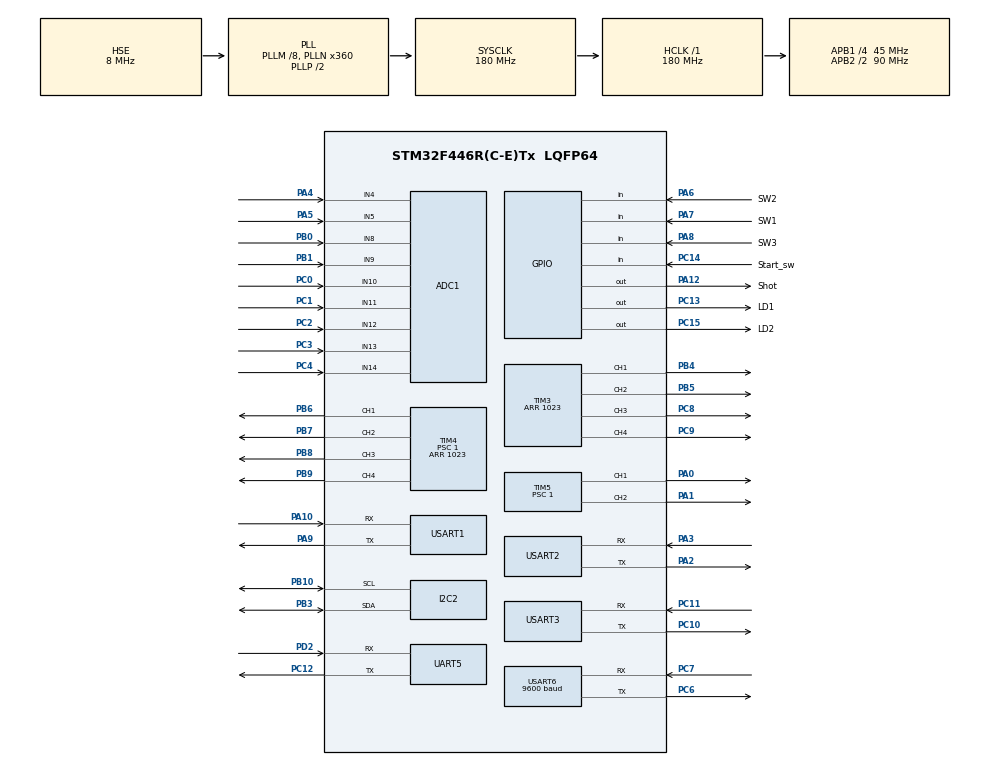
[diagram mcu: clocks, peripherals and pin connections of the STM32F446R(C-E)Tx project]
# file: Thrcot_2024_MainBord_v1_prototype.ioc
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ADC1.Channel-0\#ChannelRegularConversion=ADC_CHANNEL_11
ADC1.Channel-1\#ChannelRegularConversion=ADC_CHANNEL_12
ADC1.Channel-2\#ChannelRegularConversion=ADC_CHANNEL_13
ADC1.Channel-3\#ChannelRegularConversion=ADC_CHANNEL_14
ADC1.Channel-4\#ChannelRegularConversion=ADC_CHANNEL_5
ADC1.Channel-5\#ChannelRegularConversion=ADC_CHANNEL_8
ADC1.Channel-6\#ChannelRegularConversion=ADC_CHANNEL_9
ADC1.Channel-7\#ChannelRegularConversion=ADC_CHANNEL_10
ADC1.ContinuousConvMode=ENABLE
ADC1.DMAContinuousRequests=ENABLE
ADC1.NbrOfConversion=8
ADC1.NbrOfConversionFlag=1
ADC1.Rank-0\#ChannelRegularConversion=1
ADC1.Rank-1\#ChannelRegularConversion=2
ADC1.Rank-2\#ChannelRegularConversion=3
ADC1.Rank-3\#ChannelRegularConversion=4
ADC1.Rank-4\#ChannelRegularConversion=5
ADC1.Rank-5\#ChannelRegularConversion=6
ADC1.Rank-6\#ChannelRegularConversion=7
ADC1.Rank-7\#ChannelRegularConversion=8
ADC1.SamplingTime-0\#ChannelRegularConversion=ADC_SAMPLETIME_28CYCLES
ADC1.SamplingTime-1\#ChannelRegularConversion=ADC_SAMPLETIME_28CYCLES
ADC1.SamplingTime-2\#ChannelRegularConversion=ADC_SAMPLETIME_28CYCLES
ADC1.SamplingTime-3\#ChannelRegularConversion=ADC_SAMPLETIME_28CYCLES
ADC1.SamplingTime-4\#ChannelRegularConversion=ADC_SAMPLETIME_28CYCLES
ADC1.SamplingTime-5\#ChannelRegularConversion=ADC_SAMPLETIME_28CYCLES
ADC1.SamplingTime-6\#ChannelRegularConversion=ADC_SAMPLETIME_28CYCLES
ADC1.SamplingTime-7\#ChannelRegularConversion=ADC_SAMPLETIME_28CYCLES
ADC1.ScanConvMode=ENABLE
ADC1.master=1
Dma.ADC1.0.Direction=DMA_PERIPH_TO_MEMORY
Dma.ADC1.0.FIFOMode=DMA_FIFOMODE_DISABLE
Dma.ADC1.0.Instance=DMA2_Stream0
Dma.ADC1.0.MemDataAlignment=DMA_MDATAALIGN_HALFWORD
Dma.ADC1.0.MemInc=DMA_MINC_ENABLE
Dma.ADC1.0.Mode=DMA_CIRCULAR
Dma.ADC1.0.PeriphDataAlignment=DMA_PDATAALIGN_HALFWORD
Dma.ADC1.0.PeriphInc=DMA_PINC_DISABLE
Dma.ADC1.0.Priority=DMA_PRIORITY_MEDIUM
Dma.Request0=ADC1
I2C2.I2C_Mode=I2C_Fast
Mcu.Family=STM32F4
Mcu.Name=STM32F446R(C-E)Tx
Mcu.Package=LQFP64
NVIC.DMA2_Stream0_IRQn=true\:0\:0\:false\:false\:true\:false\:true\:true
NVIC.PriorityGroup=NVIC_PRIORITYGROUP_4
PA0-WKUP.Signal=S_TIM5_CH1
PA1.Signal=S_TIM5_CH2
PA10.Mode=Asynchronous
PA10.Signal=USART1_RX
PA12.GPIO_Label=Shot
PA12.Signal=GPIO_Output
PA13.Mode=Serial_Wire
PA13.Signal=SYS_JTMS-SWDIO
PA14.Mode=Serial_Wire
PA14.Signal=SYS_JTCK-SWCLK
PA2.Mode=Asynchronous
PA2.Signal=USART2_TX
PA3.Mode=Asynchronous
PA3.Signal=USART2_RX
PA4.Signal=ADCx_IN4
PA5.Signal=ADCx_IN5
PA6.GPIO_Label=SW2
PA6.Signal=GPIO_Input
PA7.GPIO_Label=SW1
PA7.Signal=GPIO_Input
PA8.GPIO_Label=SW3
PA8.Signal=GPIO_Input
PA9.Mode=Asynchronous
PA9.Signal=USART1_TX
PB0.Signal=ADCx_IN8
PB1.Signal=ADCx_IN9
PB10.Mode=I2C
PB10.Signal=I2C2_SCL
PB3.Mode=I2C
PB3.Signal=I2C2_SDA
PB4.Signal=S_TIM3_CH1
PB5.Signal=S_TIM3_CH2
PB6.Signal=S_TIM4_CH1
PB7.Signal=S_TIM4_CH2
PB8.Signal=S_TIM4_CH3
PB9.Signal=S_TIM4_CH4
PC0.Signal=ADCx_IN10
PC1.Signal=ADCx_IN11
PC10.Mode=Asynchronous
PC10.Signal=USART3_TX
PC11.Mode=Asynchronous
PC11.Signal=USART3_RX
PC12.Mode=Asynchronous
PC12.Signal=UART5_TX
PC13.GPIO_Label=LD1
PC13.Signal=GPIO_Output
PC14-OSC32_IN.GPIO_Label=Start_sw
PC14-OSC32_IN.Signal=GPIO_Input
PC15-OSC32_OUT.GPIO_Label=LD2
PC15-OSC32_OUT.Signal=GPIO_Output
PC2.Signal=ADCx_IN12
PC3.Signal=ADCx_IN13
PC4.Signal=ADCx_IN14
PC6.Mode=Asynchronous
PC6.Signal=USART6_TX
PC7.Mode=Asynchronous
PC7.Signal=USART6_RX
PC8.Signal=S_TIM3_CH3
PC9.Signal=S_TIM3_CH4
PD2.Mode=Asynchronous
PD2.Signal=UART5_RX
PH0-OSC_IN.Mode=HSE-External-Oscillator
PH0-OSC_IN.Signal=RCC_OSC_IN
PH1-OSC_OUT.Mode=HSE-External-Oscillator
PH1-OSC_OUT.Signal=RCC_OSC_OUT
ProjectManager.HeapSize=0x200
ProjectManager.StackSize=0x400
ProjectManager.TargetToolchain=STM32CubeIDE
RCC.AHBFreq_Value=180000000
RCC.APB1CLKDivider=RCC_HCLK_DIV4
RCC.APB1Freq_Value=45000000
RCC.APB1TimFreq_Value=90000000
RCC.APB2CLKDivider=RCC_HCLK_DIV2
RCC.APB2Freq_Value=90000000
RCC.APB2TimFreq_Value=180000000
RCC.CortexFreq_Value=180000000
RCC.HCLKFreq_Value=180000000
RCC.HSE_VALUE=8000000
RCC.PLLM=8
RCC.PLLN=360
RCC.PLLSourceVirtual=RCC_PLLSOURCE_HSE
RCC.SYSCLKFreq_VALUE=180000000
RCC.SYSCLKSource=RCC_SYSCLKSOURCE_PLLCLK
RCC.USBFreq_Value=180000000
RCC.VCOOutputFreq_Value=360000000
SH.ADCx_IN10.0=ADC1_IN10,IN10
SH.ADCx_IN11.0=ADC1_IN11,IN11
SH.ADCx_IN12.0=ADC1_IN12,IN12
SH.ADCx_IN13.0=ADC1_IN13,IN13
SH.ADCx_IN14.0=ADC1_IN14,IN14
SH.ADCx_IN4.0=ADC1_IN4,IN4
SH.ADCx_IN5.0=ADC1_IN5,IN5
SH.ADCx_IN8.0=ADC1_IN8,IN8
SH.ADCx_IN9.0=ADC1_IN9,IN9
SH.S_TIM3_CH1.0=TIM3_CH1,PWM Generation1 CH1
SH.S_TIM3_CH2.0=TIM3_CH2,PWM Generation2 CH2
SH.S_TIM3_CH3.0=TIM3_CH3,PWM Generation3 CH3
SH.S_TIM3_CH4.0=TIM3_CH4,PWM Generation4 CH4
SH.S_TIM4_CH1.0=TIM4_CH1,PWM Generation1 CH1
SH.S_TIM4_CH2.0=TIM4_CH2,PWM Generation2 CH2
SH.S_TIM4_CH3.0=TIM4_CH3,PWM Generation3 CH3
SH.S_TIM4_CH4.0=TIM4_CH4,PWM Generation4 CH4
SH.S_TIM5_CH1.0=TIM5_CH1,PWM Generation1 CH1
SH.S_TIM5_CH2.0=TIM5_CH2,PWM Generation2 CH2
TIM3.Channel-PWM\ Generation1\ CH1=TIM_CHANNEL_1
TIM3.Channel-PWM\ Generation2\ CH2=TIM_CHANNEL_2
TIM3.Channel-PWM\ Generation3\ CH3=TIM_CHANNEL_3
TIM3.Channel-PWM\ Generation4\ CH4=TIM_CHANNEL_4
TIM3.Period=1023
TIM4.Channel-PWM\ Generation1\ CH1=TIM_CHANNEL_1
TIM4.Channel-PWM\ Generation2\ CH2=TIM_CHANNEL_2
TIM4.Channel-PWM\ Generation3\ CH3=TIM_CHANNEL_3
TIM4.Channel-PWM\ Generation4\ CH4=TIM_CHANNEL_4
TIM4.Period=1023
TIM4.Prescaler=1
TIM5.Channel-PWM\ Generation1\ CH1=TIM_CHANNEL_1
TIM5.Channel-PWM\ Generation2\ CH2=TIM_CHANNEL_2
TIM5.Period=1023
TIM5.Prescaler=1
UART5.VirtualMode=Asynchronous
USART1.VirtualMode=VM_ASYNC
USART2.VirtualMode=VM_ASYNC
USART3.VirtualMode=VM_ASYNC
USART6.BaudRate=9600
USART6.VirtualMode=VM_ASYNC
board=custom

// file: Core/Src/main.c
/* USER CODE BEGIN Header */
/**
  ******************************************************************************
  * @file           : main.c
  * @brief          : Main program body
  ******************************************************************************
  * @attention
  *
  * Copyright (c) 2024 STMicroelectronics.
  * All rights reserved.
  *
  * This software is licensed under terms that can be found in the LICENSE file
  * in the root directory of this software component.
  * If no LICENSE file comes with this software, it is provided AS-IS.
  *
  ******************************************************************************
  */
/* USER CODE END Header */
#include "main.h"

/* USER CODE BEGIN Includes */
#include <stdlib.h>
#include <math.h>
#include "ssd1306_hal.h"
#include "DFPlayer_hal.h"
#include "BMX055_hal.h"
/* USER CODE END Includes */

/* USER CODE BEGIN PTD */
typedef enum {
	STANDBY_MODE,
	DEBUG_MODE,
	GAME_MODE
} Robot_State_t;

typedef enum {
	LINE_CHECK,
	BALL_CHECK,
	BMX_CHECK,
	MOTOR_CHECK,
	AUDIO_CHECK,
} Debug_Select_t;

typedef enum {
	M1,
	M2,
	M3,
	M4
} MOTOR_NUM;
/* USER CODE END PTD */

/* USER CODE BEGIN PD */
#define P_GAIN	27.5
#define I_GAIN	0
#define D_GAIN	0

#define ROUND_P_1	30.0
#define ROUND_P_2	50.0
/* USER CODE END PD */

ADC_HandleTypeDef hadc1;
DMA_HandleTypeDef hdma_adc1;

I2C_HandleTypeDef hi2c2;

TIM_HandleTypeDef htim3;
TIM_HandleTypeDef htim4;
TIM_HandleTypeDef htim5;

UART_HandleTypeDef huart5;
UART_HandleTypeDef huart1;
UART_HandleTypeDef huart2;
UART_HandleTypeDef huart3;
UART_HandleTypeDef huart6;

/* USER CODE BEGIN PV */
double gz_offset = 0.0;

uint8_t DFPlayer_enable = 0;
uint8_t Camera_enable = 0;
uint8_t WiFi_enable = 0;

uint8_t speaker_volume = 20;

uint8_t check_line[2] = {0xF3, 0x03};
uint8_t request_line[2] = {0xF0, 0x33};

uint16_t Ball_data[8] = {0};
double Sensor_angle[8] = {0.0, 0.785398, 1.570796, 2.356194, 3.141592, 3.926990, 4.712388, 5.497787};

uint8_t __receive_buf[3] = {0xFF, 0xFF, 0xFF};

int8_t m1_offset = 1;
int8_t m2_offset = -1;
int8_t m3_offset = -1;
int8_t m4_offset = 1;
/* USER CODE END PV */

void SystemClock_Config(void);
static void MX_GPIO_Init(void);
static void MX_DMA_Init(void);
static void MX_I2C2_Init(void);
static void MX_USART6_UART_Init(void);
static void MX_ADC1_Init(void);
static void MX_TIM3_Init(void);
static void MX_TIM4_Init(void);
static void MX_TIM5_Init(void);
static void MX_UART5_Init(void);
static void MX_USART1_UART_Init(void);
static void MX_USART2_UART_Init(void);
static void MX_USART3_UART_Init(void);
/* USER CODE BEGIN PFP */
/*Init function*/
void Thrcot_Init(void);
void Thrcot_Init_Fast(void);
/*Debug function*/
void Debug_Mode(Debug_Select_t debug_kind);

/*Ball sensor function*/
double Ball_Angle(void);

/*Line sensor function*/
uint8_t Line_Conenct_Test(void);
double Line_Get(void);

/*motor control function*/
void Motor_Init(void);
int Return_Speed(MOTOR_NUM Mx, double angle, int speed);
void M1_control(int speed);
void M2_control(int speed);
void M3_control(int speed);
void M4_control(int speed);
void Stright_control(double angle, int speed);

/*other functions*/
double Return_Pval(double p);

/* USER CODE END PFP */

int main(void)
{

  /* MCU Configuration--------------------------------------------------------*/

  /* Reset of all peripherals, Initializes the Flash interface and the Systick. */
  HAL_Init();

  /* Configure the system clock */
  SystemClock_Config();

  /* Initialize all configured peripherals */
  MX_GPIO_Init();
  MX_DMA_Init();
  MX_I2C2_Init();
  MX_USART6_UART_Init();
  MX_ADC1_Init();
  MX_TIM3_Init();
  MX_TIM4_Init();
  MX_TIM5_Init();
  MX_UART5_Init();
  MX_USART1_UART_Init();
  MX_USART2_UART_Init();
  MX_USART3_UART_Init();
  /* USER CODE BEGIN 2 */
  CoreDebug -> DEMCR |= CoreDebug_DEMCR_TRCENA_Msk;
  DWT -> CTRL |= DWT_CTRL_CYCCNTENA_Msk;

  volatile uint32_t start = 0;
  volatile uint32_t stop = 0;

  double duration = 0.0;

  long long gz = 0;
  double angle = 0;

  if (HAL_GPIO_ReadPin(SW2_GPIO_Port, SW2_Pin) == 0) {
	  Thrcot_Init_Fast();
	  while (HAL_GPIO_ReadPin(SW2_GPIO_Port, SW2_Pin) == 0);
  } else {
	  Thrcot_Init();
  }
  /* USER CODE END 2 */

  /* Infinite loop */
  while (1)
  {

    /* USER CODE BEGIN 3 */
	  static Robot_State_t robot_state = STANDBY_MODE;
	  uint8_t sw1_state, sw2_state, sw3_state, start_sw_state;

	  switch (robot_state) {
		case STANDBY_MODE:
			HAL_GPIO_WritePin(LD1_GPIO_Port, LD1_Pin, 1);
			HAL_GPIO_WritePin(LD2_GPIO_Port, LD2_Pin, 0);

			OLED_DataClear();
			OLED_Char_Print("Stand-by Mode...", 0, 0);
			OLED_Char_Print("Debug Mode : SW2", 0, 12);
			OLED_Char_Print("Game Mode : SW3", 0, 20);
			OLED_Display(&hi2c2);

			while (1) {
				if (HAL_GPIO_ReadPin(SW2_GPIO_Port, SW2_Pin) == 0) {
					robot_state = DEBUG_MODE;
					break;
				} else if (HAL_GPIO_ReadPin(SW3_GPIO_Port, SW3_Pin) == 0){
					robot_state = GAME_MODE;
					break;
				}
			}
			break;

		case DEBUG_MODE:
			HAL_GPIO_WritePin(LD1_GPIO_Port, LD1_Pin, 0);
			HAL_GPIO_WritePin(LD2_GPIO_Port, LD2_Pin, 1);

			while (HAL_GPIO_ReadPin(SW1_GPIO_Port, SW1_Pin) == 1) {
				static Debug_Select_t debug = 0;
				sw2_state = HAL_GPIO_ReadPin(SW2_GPIO_Port, SW2_Pin);
				start_sw_state = HAL_GPIO_ReadPin(Start_sw_GPIO_Port, Start_sw_Pin);

				OLED_DataClear();
				OLED_Char_Print("Select to SW2", 0, 0);
				OLED_Char_Print("Decide to StartSW", 0, 8);
				OLED_Char_Print("Stand-by to SW1", 0, 16);
				OLED_Char_Print(" Line check", 0, 24);
				OLED_Char_Print(" Ball check", 0, 32);
				OLED_Char_Print(" BMX check", 0, 40);
				OLED_Char_Print(" Motor check", 0, 48);
				OLED_Char_Print(" Audio check", 0, 56);
				OLED_Char_Print(">", 0, debug * 8 + 24);
				OLED_Display(&hi2c2);

				if (sw2_state == 0) {
					while (HAL_GPIO_ReadPin(SW2_GPIO_Port, SW2_Pin) == 0);
					debug = (debug == AUDIO_CHECK) ? LINE_CHECK : debug + 1;
				}

				if (start_sw_state == 0) {
					while (HAL_GPIO_ReadPin(Start_sw_GPIO_Port, Start_sw_Pin) == 0);
					Debug_Mode(debug);
				}
			}

			robot_state = STANDBY_MODE;
			break;

		case GAME_MODE:
			double Line_angle = 0.0;
			double Ball_angle = 0.0;

			angle = 0.0;

			HAL_GPIO_WritePin(LD1_GPIO_Port, LD1_Pin, 1);
			HAL_GPIO_WritePin(LD2_GPIO_Port, LD2_Pin, 1);

			while (HAL_GPIO_ReadPin(Start_sw_GPIO_Port, Start_sw_Pin) == 1) {
				start = DWT -> CYCCNT;

				gz = Gyro_Get_Z() - gz_offset;
				angle += -gz * duration * (2000.0 / 32767.0);

				OLED_DataClear();
				OLED_Char_Print("Game Mode...", 0, 0);
				OLED_Char_Print("Please press StartSW", 0, 8);
				OLED_Int_Print(gz, 0, 16);
				OLED_Double_Print(duration, 0, 24);
				OLED_Double_Print(angle, 0, 32);
				OLED_Display(&hi2c2);

				stop = DWT -> CYCCNT;
				duration = (double)(stop - start) / 180000000.0;
			}

			while (HAL_GPIO_ReadPin(Start_sw_GPIO_Port, Start_sw_Pin) == 0);

			HAL_GPIO_WritePin(LD1_GPIO_Port, LD1_Pin, 0);
			HAL_GPIO_WritePin(LD2_GPIO_Port, LD2_Pin, 0);

			OLED_DataClear();
			OLED_Char_Print("Running...", 0, 0);
			OLED_Display(&hi2c2);

			while (HAL_GPIO_ReadPin(Start_sw_GPIO_Port, Start_sw_Pin)) {
				start = DWT -> CYCCNT;

				double P_val = 0.0;
				double D_val = 0.0;
				static double pre_P_val = 0.0;
				double spin_speed = 0.0;

				double move_angle = 0.0;
				int M1_speed = 0;
				int M2_speed = 0;
				int M3_speed = 0;
				int M4_speed = 0;

				gz = Gyro_Get_Z() - gz_offset;
				angle += -1 * gz * duration * (2000.0 / 32767.0);
				if (angle > 180.0) {
					angle = angle - 360.0;
				} else if (angle < -180.0) {
					angle = angle + 360.0;
				}

				P_val = 0.0 - angle;
				D_val = (P_val - pre_P_val) * duration;
				spin_speed = Return_Pval(P_val) + D_val * D_GAIN;

				Line_angle = Line_Get();

				if (Line_angle == 300.0) {
					Ball_angle  = Ball_Angle();

					if (angle >= -20.0 && angle <= 20.0) {

						Ball_angle *= 180.0 / PI;

						if (Ball_angle <= 5.0 && Ball_angle >= -5.0) {
							move_angle = Ball_angle;
						} else {
							move_angle = (Ball_angle < 0.0) ? Ball_angle - 45.0 : Ball_angle + 45.0;
						}

						Stright_control(move_angle, 1023);
					} else {
						M1_speed = M2_speed = M3_speed = M4_speed = spin_speed;

						M1_control(M1_speed);
						M2_control(M2_speed);
						M3_control(M3_speed);
						M4_control(M4_speed);
					}
				} else {
					Line_angle = Line_angle * 180.0 / PI;

					Stright_control(-Line_angle, 1023);
					HAL_Delay(2000);
				}

				pre_P_val = P_val;

				stop = DWT -> CYCCNT;
				duration = (double)(stop - start) / 180000000.0;
			}
			OLED_DataClear();
			OLED_Double_Print(duration, 0, 0);
			OLED_Display(&hi2c2);

			M1_control(0);
			M2_control(0);
			M3_control(0);
			M4_control(0);

			HAL_Delay(2000);

			while (HAL_GPIO_ReadPin(Start_sw_GPIO_Port, Start_sw_Pin) == 0);
			robot_state = STANDBY_MODE;

			break;

		default:
			break;
	}
  }
  /* USER CODE END 3 */
}

void SystemClock_Config(void)
{
  RCC_OscInitTypeDef RCC_OscInitStruct = {0};
  RCC_ClkInitTypeDef RCC_ClkInitStruct = {0};

  /** Configure the main internal regulator output voltage
  */
  __HAL_RCC_PWR_CLK_ENABLE();
  __HAL_PWR_VOLTAGESCALING_CONFIG(PWR_REGULATOR_VOLTAGE_SCALE1);

  /** Initializes the RCC Oscillators according to the specified parameters
  * in the RCC_OscInitTypeDef structure.
  */
  RCC_OscInitStruct.OscillatorType = RCC_OSCILLATORTYPE_HSE;
  RCC_OscInitStruct.HSEState = RCC_HSE_ON;
  RCC_OscInitStruct.PLL.PLLState = RCC_PLL_ON;
  RCC_OscInitStruct.PLL.PLLSource = RCC_PLLSOURCE_HSE;
  RCC_OscInitStruct.PLL.PLLM = 8;
  RCC_OscInitStruct.PLL.PLLN = 360;
  RCC_OscInitStruct.PLL.PLLP = RCC_PLLP_DIV2;
  RCC_OscInitStruct.PLL.PLLQ = 2;
  RCC_OscInitStruct.PLL.PLLR = 2;
  if (HAL_RCC_OscConfig(&RCC_OscInitStruct) != HAL_OK)
  {
    Error_Handler();
  }

  /** Activate the Over-Drive mode
  */
  if (HAL_PWREx_EnableOverDrive() != HAL_OK)
  {
    Error_Handler();
  }

  /** Initializes the CPU, AHB and APB buses clocks
  */
  RCC_ClkInitStruct.ClockType = RCC_CLOCKTYPE_HCLK|RCC_CLOCKTYPE_SYSCLK
                              |RCC_CLOCKTYPE_PCLK1|RCC_CLOCKTYPE_PCLK2;
  RCC_ClkInitStruct.SYSCLKSource = RCC_SYSCLKSOURCE_PLLCLK;
  RCC_ClkInitStruct.AHBCLKDivider = RCC_SYSCLK_DIV1;
  RCC_ClkInitStruct.APB1CLKDivider = RCC_HCLK_DIV4;
  RCC_ClkInitStruct.APB2CLKDivider = RCC_HCLK_DIV2;

  if (HAL_RCC_ClockConfig(&RCC_ClkInitStruct, FLASH_LATENCY_5) != HAL_OK)
  {
    Error_Handler();
  }
}

static void MX_ADC1_Init(void)
{

  ADC_ChannelConfTypeDef sConfig = {0};

  /** Configure the global features of the ADC (Clock, Resolution, Data Alignment and number of conversion)
  */
  hadc1.Instance = ADC1;
  hadc1.Init.ClockPrescaler = ADC_CLOCK_SYNC_PCLK_DIV4;
  hadc1.Init.Resolution = ADC_RESOLUTION_12B;
  hadc1.Init.ScanConvMode = ENABLE;
  hadc1.Init.ContinuousConvMode = ENABLE;
  hadc1.Init.DiscontinuousConvMode = DISABLE;
  hadc1.Init.ExternalTrigConvEdge = ADC_EXTERNALTRIGCONVEDGE_NONE;
  hadc1.Init.ExternalTrigConv = ADC_SOFTWARE_START;
  hadc1.Init.DataAlign = ADC_DATAALIGN_RIGHT;
  hadc1.Init.NbrOfConversion = 8;
  hadc1.Init.DMAContinuousRequests = ENABLE;
  hadc1.Init.EOCSelection = ADC_EOC_SINGLE_CONV;
  if (HAL_ADC_Init(&hadc1) != HAL_OK)
  {
    Error_Handler();
  }

  /** Configure for the selected ADC regular channel its corresponding rank in the sequencer and its sample time.
  */
  sConfig.Channel = ADC_CHANNEL_11;
  sConfig.Rank = 1;
  sConfig.SamplingTime = ADC_SAMPLETIME_28CYCLES;
  if (HAL_ADC_ConfigChannel(&hadc1, &sConfig) != HAL_OK)
  {
    Error_Handler();
  }

  /** Configure for the selected ADC regular channel its corresponding rank in the sequencer and its sample time.
  */
  sConfig.Channel = ADC_CHANNEL_12;
  sConfig.Rank = 2;
  if (HAL_ADC_ConfigChannel(&hadc1, &sConfig) != HAL_OK)
  {
    Error_Handler();
  }

  /** Configure for the selected ADC regular channel its corresponding rank in the sequencer and its sample time.
  */
  sConfig.Channel = ADC_CHANNEL_13;
  sConfig.Rank = 3;
  if (HAL_ADC_ConfigChannel(&hadc1, &sConfig) != HAL_OK)
  {
    Error_Handler();
  }

  /** Configure for the selected ADC regular channel its corresponding rank in the sequencer and its sample time.
  */
  sConfig.Channel = ADC_CHANNEL_14;
  sConfig.Rank = 4;
  if (HAL_ADC_ConfigChannel(&hadc1, &sConfig) != HAL_OK)
  {
    Error_Handler();
  }

  /** Configure for the selected ADC regular channel its corresponding rank in the sequencer and its sample time.
  */
  sConfig.Channel = ADC_CHANNEL_5;
  sConfig.Rank = 5;
  if (HAL_ADC_ConfigChannel(&hadc1, &sConfig) != HAL_OK)
  {
    Error_Handler();
  }

  /** Configure for the selected ADC regular channel its corresponding rank in the sequencer and its sample time.
  */
  sConfig.Channel = ADC_CHANNEL_8;
  sConfig.Rank = 6;
  if (HAL_ADC_ConfigChannel(&hadc1, &sConfig) != HAL_OK)
  {
    Error_Handler();
  }

  /** Configure for the selected ADC regular channel its corresponding rank in the sequencer and its sample time.
  */
  sConfig.Channel = ADC_CHANNEL_9;
  sConfig.Rank = 7;
  if (HAL_ADC_ConfigChannel(&hadc1, &sConfig) != HAL_OK)
  {
    Error_Handler();
  }

  /** Configure for the selected ADC regular channel its corresponding rank in the sequencer and its sample time.
  */
  sConfig.Channel = ADC_CHANNEL_10;
  sConfig.Rank = 8;
  if (HAL_ADC_ConfigChannel(&hadc1, &sConfig) != HAL_OK)
  {
    Error_Handler();
  }

}

static void MX_I2C2_Init(void)
{

  hi2c2.Instance = I2C2;
  hi2c2.Init.ClockSpeed = 400000;
  hi2c2.Init.DutyCycle = I2C_DUTYCYCLE_2;
  hi2c2.Init.OwnAddress1 = 0;
  hi2c2.Init.AddressingMode = I2C_ADDRESSINGMODE_7BIT;
  hi2c2.Init.DualAddressMode = I2C_DUALADDRESS_DISABLE;
  hi2c2.Init.OwnAddress2 = 0;
  hi2c2.Init.GeneralCallMode = I2C_GENERALCALL_DISABLE;
  hi2c2.Init.NoStretchMode = I2C_NOSTRETCH_DISABLE;
  if (HAL_I2C_Init(&hi2c2) != HAL_OK)
  {
    Error_Handler();
  }

}

static void MX_TIM3_Init(void)
{

  TIM_MasterConfigTypeDef sMasterConfig = {0};
  TIM_OC_InitTypeDef sConfigOC = {0};

  htim3.Instance = TIM3;
  htim3.Init.Prescaler = 0;
  htim3.Init.CounterMode = TIM_COUNTERMODE_UP;
  htim3.Init.Period = 1023;
  htim3.Init.ClockDivision = TIM_CLOCKDIVISION_DIV1;
  htim3.Init.AutoReloadPreload = TIM_AUTORELOAD_PRELOAD_DISABLE;
  if (HAL_TIM_PWM_Init(&htim3) != HAL_OK)
  {
    Error_Handler();
  }
  sMasterConfig.MasterOutputTrigger = TIM_TRGO_RESET;
  sMasterConfig.MasterSlaveMode = TIM_MASTERSLAVEMODE_DISABLE;
  if (HAL_TIMEx_MasterConfigSynchronization(&htim3, &sMasterConfig) != HAL_OK)
  {
    Error_Handler();
  }
  sConfigOC.OCMode = TIM_OCMODE_PWM1;
  sConfigOC.Pulse = 0;
  sConfigOC.OCPolarity = TIM_OCPOLARITY_HIGH;
  sConfigOC.OCFastMode = TIM_OCFAST_DISABLE;
  if (HAL_TIM_PWM_ConfigChannel(&htim3, &sConfigOC, TIM_CHANNEL_1) != HAL_OK)
  {
    Error_Handler();
  }
  if (HAL_TIM_PWM_ConfigChannel(&htim3, &sConfigOC, TIM_CHANNEL_2) != HAL_OK)
  {
    Error_Handler();
  }
  if (HAL_TIM_PWM_ConfigChannel(&htim3, &sConfigOC, TIM_CHANNEL_3) != HAL_OK)
  {
    Error_Handler();
  }
  if (HAL_TIM_PWM_ConfigChannel(&htim3, &sConfigOC, TIM_CHANNEL_4) != HAL_OK)
  {
    Error_Handler();
  }
  HAL_TIM_MspPostInit(&htim3);

}

static void MX_TIM4_Init(void)
{

  TIM_MasterConfigTypeDef sMasterConfig = {0};
  TIM_OC_InitTypeDef sConfigOC = {0};

  htim4.Instance = TIM4;
  htim4.Init.Prescaler = 1;
  htim4.Init.CounterMode = TIM_COUNTERMODE_UP;
  htim4.Init.Period = 1023;
  htim4.Init.ClockDivision = TIM_CLOCKDIVISION_DIV1;
  htim4.Init.AutoReloadPreload = TIM_AUTORELOAD_PRELOAD_DISABLE;
  if (HAL_TIM_PWM_Init(&htim4) != HAL_OK)
  {
    Error_Handler();
  }
  sMasterConfig.MasterOutputTrigger = TIM_TRGO_RESET;
  sMasterConfig.MasterSlaveMode = TIM_MASTERSLAVEMODE_DISABLE;
  if (HAL_TIMEx_MasterConfigSynchronization(&htim4, &sMasterConfig) != HAL_OK)
  {
    Error_Handler();
  }
  sConfigOC.OCMode = TIM_OCMODE_PWM1;
  sConfigOC.Pulse = 0;
  sConfigOC.OCPolarity = TIM_OCPOLARITY_HIGH;
  sConfigOC.OCFastMode = TIM_OCFAST_DISABLE;
  if (HAL_TIM_PWM_ConfigChannel(&htim4, &sConfigOC, TIM_CHANNEL_1) != HAL_OK)
  {
    Error_Handler();
  }
  if (HAL_TIM_PWM_ConfigChannel(&htim4, &sConfigOC, TIM_CHANNEL_2) != HAL_OK)
  {
    Error_Handler();
  }
  if (HAL_TIM_PWM_ConfigChannel(&htim4, &sConfigOC, TIM_CHANNEL_3) != HAL_OK)
  {
    Error_Handler();
  }
  if (HAL_TIM_PWM_ConfigChannel(&htim4, &sConfigOC, TIM_CHANNEL_4) != HAL_OK)
  {
    Error_Handler();
  }
  HAL_TIM_MspPostInit(&htim4);

}

static void MX_TIM5_Init(void)
{

  TIM_MasterConfigTypeDef sMasterConfig = {0};
  TIM_OC_InitTypeDef sConfigOC = {0};

  htim5.Instance = TIM5;
  htim5.Init.Prescaler = 1;
  htim5.Init.CounterMode = TIM_COUNTERMODE_UP;
  htim5.Init.Period = 1023;
  htim5.Init.ClockDivision = TIM_CLOCKDIVISION_DIV1;
  htim5.Init.AutoReloadPreload = TIM_AUTORELOAD_PRELOAD_DISABLE;
  if (HAL_TIM_PWM_Init(&htim5) != HAL_OK)
  {
    Error_Handler();
  }
  sMasterConfig.MasterOutputTrigger = TIM_TRGO_RESET;
  sMasterConfig.MasterSlaveMode = TIM_MASTERSLAVEMODE_DISABLE;
  if (HAL_TIMEx_MasterConfigSynchronization(&htim5, &sMasterConfig) != HAL_OK)
  {
    Error_Handler();
  }
  sConfigOC.OCMode = TIM_OCMODE_PWM1;
  sConfigOC.Pulse = 0;
  sConfigOC.OCPolarity = TIM_OCPOLARITY_HIGH;
  sConfigOC.OCFastMode = TIM_OCFAST_DISABLE;
  if (HAL_TIM_PWM_ConfigChannel(&htim5, &sConfigOC, TIM_CHANNEL_1) != HAL_OK)
  {
    Error_Handler();
  }
  if (HAL_TIM_PWM_ConfigChannel(&htim5, &sConfigOC, TIM_CHANNEL_2) != HAL_OK)
  {
    Error_Handler();
  }
  HAL_TIM_MspPostInit(&htim5);

}

static void MX_UART5_Init(void)
{

  huart5.Instance = UART5;
  huart5.Init.BaudRate = 115200;
  huart5.Init.WordLength = UART_WORDLENGTH_8B;
  huart5.Init.StopBits = UART_STOPBITS_1;
  huart5.Init.Parity = UART_PARITY_NONE;
  huart5.Init.Mode = UART_MODE_TX_RX;
  huart5.Init.HwFlowCtl = UART_HWCONTROL_NONE;
  huart5.Init.OverSampling = UART_OVERSAMPLING_16;
  if (HAL_UART_Init(&huart5) != HAL_OK)
  {
    Error_Handler();
  }

}

static void MX_USART1_UART_Init(void)
{

  huart1.Instance = USART1;
  huart1.Init.BaudRate = 115200;
  huart1.Init.WordLength = UART_WORDLENGTH_8B;
  huart1.Init.StopBits = UART_STOPBITS_1;
  huart1.Init.Parity = UART_PARITY_NONE;
  huart1.Init.Mode = UART_MODE_TX_RX;
  huart1.Init.HwFlowCtl = UART_HWCONTROL_NONE;
  huart1.Init.OverSampling = UART_OVERSAMPLING_16;
  if (HAL_UART_Init(&huart1) != HAL_OK)
  {
    Error_Handler();
  }

}

static void MX_USART2_UART_Init(void)
{

  huart2.Instance = USART2;
  huart2.Init.BaudRate = 115200;
  huart2.Init.WordLength = UART_WORDLENGTH_8B;
  huart2.Init.StopBits = UART_STOPBITS_1;
  huart2.Init.Parity = UART_PARITY_NONE;
  huart2.Init.Mode = UART_MODE_TX_RX;
  huart2.Init.HwFlowCtl = UART_HWCONTROL_NONE;
  huart2.Init.OverSampling = UART_OVERSAMPLING_16;
  if (HAL_UART_Init(&huart2) != HAL_OK)
  {
    Error_Handler();
  }

}

static void MX_USART3_UART_Init(void)
{

  huart3.Instance = USART3;
  huart3.Init.BaudRate = 115200;
  huart3.Init.WordLength = UART_WORDLENGTH_8B;
  huart3.Init.StopBits = UART_STOPBITS_1;
  huart3.Init.Parity = UART_PARITY_NONE;
  huart3.Init.Mode = UART_MODE_TX_RX;
  huart3.Init.HwFlowCtl = UART_HWCONTROL_NONE;
  huart3.Init.OverSampling = UART_OVERSAMPLING_16;
  if (HAL_UART_Init(&huart3) != HAL_OK)
  {
    Error_Handler();
  }

}

static void MX_USART6_UART_Init(void)
{

  huart6.Instance = USART6;
  huart6.Init.BaudRate = 9600;
  huart6.Init.WordLength = UART_WORDLENGTH_8B;
  huart6.Init.StopBits = UART_STOPBITS_1;
  huart6.Init.Parity = UART_PARITY_NONE;
  huart6.Init.Mode = UART_MODE_TX_RX;
  huart6.Init.HwFlowCtl = UART_HWCONTROL_NONE;
  huart6.Init.OverSampling = UART_OVERSAMPLING_16;
  if (HAL_UART_Init(&huart6) != HAL_OK)
  {
    Error_Handler();
  }

}

static void MX_DMA_Init(void)
{

  /* DMA controller clock enable */
  __HAL_RCC_DMA2_CLK_ENABLE();

  /* DMA interrupt init */
  /* DMA2_Stream0_IRQn interrupt configuration */
  HAL_NVIC_SetPriority(DMA2_Stream0_IRQn, 0, 0);
  HAL_NVIC_EnableIRQ(DMA2_Stream0_IRQn);

}

static void MX_GPIO_Init(void)
{
  GPIO_InitTypeDef GPIO_InitStruct = {0};

  /* GPIO Ports Clock Enable */
  __HAL_RCC_GPIOC_CLK_ENABLE();
  __HAL_RCC_GPIOH_CLK_ENABLE();
  __HAL_RCC_GPIOA_CLK_ENABLE();
  __HAL_RCC_GPIOB_CLK_ENABLE();
  __HAL_RCC_GPIOD_CLK_ENABLE();

  /*Configure GPIO pin Output Level */
  HAL_GPIO_WritePin(GPIOC, LD1_Pin|LD2_Pin, GPIO_PIN_RESET);

  /*Configure GPIO pin Output Level */
  HAL_GPIO_WritePin(Shot_GPIO_Port, Shot_Pin, GPIO_PIN_RESET);

  /*Configure GPIO pins : LD1_Pin LD2_Pin */
  GPIO_InitStruct.Pin = LD1_Pin|LD2_Pin;
  GPIO_InitStruct.Mode = GPIO_MODE_OUTPUT_PP;
  GPIO_InitStruct.Pull = GPIO_NOPULL;
  GPIO_InitStruct.Speed = GPIO_SPEED_FREQ_LOW;
  HAL_GPIO_Init(GPIOC, &GPIO_InitStruct);

  /*Configure GPIO pin : Start_sw_Pin */
  GPIO_InitStruct.Pin = Start_sw_Pin;
  GPIO_InitStruct.Mode = GPIO_MODE_INPUT;
  GPIO_InitStruct.Pull = GPIO_NOPULL;
  HAL_GPIO_Init(Start_sw_GPIO_Port, &GPIO_InitStruct);

  /*Configure GPIO pins : SW2_Pin SW1_Pin SW3_Pin */
  GPIO_InitStruct.Pin = SW2_Pin|SW1_Pin|SW3_Pin;
  GPIO_InitStruct.Mode = GPIO_MODE_INPUT;
  GPIO_InitStruct.Pull = GPIO_NOPULL;
  HAL_GPIO_Init(GPIOA, &GPIO_InitStruct);

  /*Configure GPIO pin : Shot_Pin */
  GPIO_InitStruct.Pin = Shot_Pin;
  GPIO_InitStruct.Mode = GPIO_MODE_OUTPUT_PP;
  GPIO_InitStruct.Pull = GPIO_NOPULL;
  GPIO_InitStruct.Speed = GPIO_SPEED_FREQ_LOW;
  HAL_GPIO_Init(Shot_GPIO_Port, &GPIO_InitStruct);

}

/* USER CODE BEGIN 4 */
void Thrcot_Init(void)
{
	uint8_t Error_Data = 0;
	uint8_t loop_flug = 0;

	HAL_ADC_Start_DMA(&hadc1, (uint32_t*)Ball_data, 8);
	hdma_adc1.Instance -> CR &= ~(DMA_IT_TC | DMA_IT_HT);

	OLED_Init(&hi2c2, OLED_Init_Data, sizeof(OLED_Init_Data));
	OLED_Thrcot_Large_Logo_Display(&hi2c2);
	HAL_Delay(2000);
	OLED_AllClear(&hi2c2);

	OLED_Char_Print("BMX055...", 0, 0);
	OLED_Display(&hi2c2);
	do {
		Error_Data = BMX055_Init(&hi2c2, 2, 2000);
	} while (Error_Data != 0);

	OLED_Char_Print("         OK", 0, 0);
	OLED_Display(&hi2c2);
	HAL_Delay(550);

	OLED_Char_Print("Calibration...", 0, 8);
	OLED_Display(&hi2c2);

	gz_offset = Gyro_Offset_Z(1000);

	OLED_Char_Print("BMX055 Init Complete!", 0, 16);
	OLED_Display(&hi2c2);
	HAL_Delay(2000);

	do {
		uint8_t sw2_state = 1;
		uint8_t sw3_state = 1;

		OLED_DataClear();
		OLED_Char_Print("Do you use Camera?", 0, 0);
		OLED_Char_Print("Y : SW2  N : SW3", 0, 8);
		OLED_Display(&hi2c2);

		while (sw2_state == 1 && sw3_state == 1) {
			sw2_state = HAL_GPIO_ReadPin(SW2_GPIO_Port, SW2_Pin);
			sw3_state = HAL_GPIO_ReadPin(SW3_GPIO_Port, SW3_Pin);
		}
		while (HAL_GPIO_ReadPin(SW2_GPIO_Port, SW2_Pin) == 0 || HAL_GPIO_ReadPin(SW3_GPIO_Port, SW3_Pin) == 0);

		if (sw2_state == 0) {
			Camera_enable = 1;
			OLED_Char_Print("Camera enable, OK?", 0, 16);
		} else {
			Camera_enable = 0;
			OLED_Char_Print("Camera disable, OK?", 0, 16);
		}

		OLED_Char_Print("Y : SW2  N : SW3", 0, 24);
		OLED_Display(&hi2c2);

		sw2_state = sw3_state = 1;

		while (sw2_state == 1 && sw3_state == 1) {
			sw2_state = HAL_GPIO_ReadPin(SW2_GPIO_Port, SW2_Pin);
			sw3_state = HAL_GPIO_ReadPin(SW3_GPIO_Port, SW3_Pin);
		}

		while (HAL_GPIO_ReadPin(SW2_GPIO_Port, SW2_Pin) == 0 || HAL_GPIO_ReadPin(SW3_GPIO_Port, SW3_Pin) == 0);

		if (sw2_state == 0) {
			loop_flug = 1;
		} else {
			  loop_flug = 0;
		}
	} while(loop_flug == 0);

	loop_flug = 0;

	do {
		uint8_t sw2_state = 1;
		uint8_t sw3_state = 1;

		OLED_DataClear();
		OLED_Char_Print("Do you use Speaker?", 0, 0);
		OLED_Char_Print("Y : SW2  N : SW3", 0, 8);
		OLED_Display(&hi2c2);

		while (sw2_state == 1 && sw3_state == 1) {
			sw2_state = HAL_GPIO_ReadPin(SW2_GPIO_Port, SW2_Pin);
		  	sw3_state = HAL_GPIO_ReadPin(SW3_GPIO_Port, SW3_Pin);
		}
		while (HAL_GPIO_ReadPin(SW2_GPIO_Port, SW2_Pin) == 0 || HAL_GPIO_ReadPin(SW3_GPIO_Port, SW3_Pin) == 0);

		if (sw2_state == 0) {
			DFPlayer_enable = 1;
			OLED_Char_Print("Speaker enable, OK?", 0, 16);
		} else {
			DFPlayer_enable = 0;
			OLED_Char_Print("Speaker disable, OK?", 0, 16);
		}

		OLED_Char_Print("Y : SW2  N : SW3", 0, 24);
		OLED_Display(&hi2c2);

		sw2_state = sw3_state = 1;

		while (sw2_state == 1 && sw3_state == 1) {
		   	sw2_state = HAL_GPIO_ReadPin(SW2_GPIO_Port, SW2_Pin);
		   	sw3_state = HAL_GPIO_ReadPin(SW3_GPIO_Port, SW3_Pin);
		}
		while (HAL_GPIO_ReadPin(SW2_GPIO_Port, SW2_Pin) == 0 || HAL_GPIO_ReadPin(SW3_GPIO_Port, SW3_Pin) == 0);

		if (sw2_state == 0) {
			loop_flug = 1;
		} else {
			loop_flug = 0;
		}
	} while (loop_flug == 0);

	if (DFPlayer_enable == 1) {
		OLED_DataClear();
		OLED_Char_Print("DFPlayer Init...", 0, 0);
		OLED_Display(&hi2c2);

		DFP_Init(&huart6);
		DFP_Volume(speaker_volume);

		OLED_Char_Print("Complete!", 0, 8);
		OLED_Display(&hi2c2);
		HAL_Delay(1500);
	}

	Motor_Init();
}

void Thrcot_Init_Fast(void)
{
	uint8_t Error_Data = 0;

	HAL_ADC_Start_DMA(&hadc1, (uint32_t*)Ball_data, 8);
	hdma_adc1.Instance -> CR &= ~(DMA_IT_TC | DMA_IT_HT);

	OLED_Init(&hi2c2, OLED_Init_Data, sizeof(OLED_Init_Data));
	OLED_Thrcot_Large_Logo_Display(&hi2c2);
	HAL_Delay(1000);
	OLED_AllClear(&hi2c2);

	do {
		Error_Data = BMX055_Init(&hi2c2, 2, 2000);
	} while (Error_Data != 0);

	gz_offset = Gyro_Offset_Z(1000);

	Camera_enable = 1;
	DFPlayer_enable = 1;

	DFP_Init(&huart6);
	DFP_Volume(speaker_volume);

	Motor_Init();
}

void Debug_Mode(Debug_Select_t debug_kind)
{
	uint8_t __select_num = 0;
	uint8_t sw2_state, sw3_state, start_sw_state;

	switch (debug_kind) {
		case LINE_CHECK:
			while (HAL_GPIO_ReadPin(SW1_GPIO_Port, SW1_Pin) == 1) {
				sw2_state = HAL_GPIO_ReadPin(SW2_GPIO_Port, SW2_Pin);
				start_sw_state = HAL_GPIO_ReadPin(Start_sw_GPIO_Port, Start_sw_Pin);

				OLED_DataClear();
				OLED_Char_Print("Select by SW2", 0, 0);
				OLED_Char_Print("Decide by StartSW", 0, 8);
				OLED_Char_Print("Back by SW1", 0, 16);
				OLED_Char_Print(" Connecting test", 0, 24);
				OLED_Char_Print(" Reading Line angle", 0, 32);
				OLED_Char_Print(" Reading Line data", 0, 40);
				OLED_Char_Print(">", 0, __select_num * 8 + 24);
				OLED_Display(&hi2c2);

				if (sw2_state == 0) {
					while (HAL_GPIO_ReadPin(SW2_GPIO_Port, SW2_Pin) == 0);
					__select_num = (__select_num == 2) ? 0 : __select_num + 1;
				}

				if (start_sw_state == 0) {
					while (HAL_GPIO_ReadPin(Start_sw_GPIO_Port, Start_sw_Pin) == 0);

					if (__select_num == 0) {
						OLED_DataClear();
						OLED_Char_Print("Line Connect test...", 0, 0);
						for (int i = 0; i < 5; i++) {
							OLED_Char_Print("Connecting...", 0, i * 8 + 8);
							if (Line_Conenct_Test() == 0) {
								OLED_Char_Print("Success!", 0, (i + 1) * 8 + 8);
								OLED_Display(&hi2c2);
								HAL_Delay(1000);

								break;
							} else if (i == 4) {
								OLED_Char_Print("Not found!", 0, (i + 1) * 8 + 8);
								OLED_Display(&hi2c2);
								HAL_Delay(1000);
							}

							OLED_Display(&hi2c2);
						}
					} else if (__select_num == 1){
						while (HAL_GPIO_ReadPin(SW1_GPIO_Port, SW1_Pin) == 1) {
							double line_angle = Line_Get();

							OLED_DataClear();
							OLED_Char_Print("Reading Line Angle...", 0, 0);
							OLED_Char_Print("Back by SW1", 0, 8);
							OLED_Char_Print("angle:", 0, 56);
							if (line_angle == 300.0) {
								OLED_Char_Print("NonData", 36, 56);
							} else {
								OLED_Double_Print(line_angle * 180.0 / PI, 36, 56);
							}
							OLED_Display(&hi2c2);
						}

						while (HAL_GPIO_ReadPin(SW1_GPIO_Port, SW1_Pin) == 0);
					} else {
						while (HAL_GPIO_ReadPin(SW1_GPIO_Port, SW1_Pin) == 1) {
							Line_Get();

							OLED_DataClear();
							OLED_Char_Print("Reading Line Angle...", 0, 0);
							OLED_Char_Print("Back by SW1", 0, 8);
							OLED_Int_Print(__receive_buf[0], 0, 16);
							OLED_Int_Print(__receive_buf[1], 0, 24);
							OLED_Int_Print(__receive_buf[2], 0, 32);
							OLED_Display(&hi2c2);
						}

						while (HAL_GPIO_ReadPin(SW1_GPIO_Port, SW1_Pin) == 0);
					}
				}
			}

			break;

		case BALL_CHECK:
			while (HAL_GPIO_ReadPin(SW1_GPIO_Port, SW1_Pin) == 1) {
				sw2_state = HAL_GPIO_ReadPin(SW2_GPIO_Port, SW2_Pin);
				start_sw_state = HAL_GPIO_ReadPin(Start_sw_GPIO_Port, Start_sw_Pin);

				OLED_DataClear();
				OLED_Char_Print("Select by SW2", 0, 0);
				OLED_Char_Print("Decide by StartSW", 0, 8);
				OLED_Char_Print("Back by SW1", 0, 16);
				OLED_Char_Print(" Read all channels", 0, 24);
				OLED_Char_Print(" Ball angle check", 0, 32);
				OLED_Char_Print(">", 0, debug_kind * 8 + 24);
				OLED_Display(&hi2c2);

				if (sw2_state == 0) {
					while (HAL_GPIO_ReadPin(SW2_GPIO_Port, SW2_Pin) == 0);
					debug_kind = (debug_kind == 1) ? 0 : 1;
				}

				if (start_sw_state == 0) {
					while (HAL_GPIO_ReadPin(Start_sw_GPIO_Port, Start_sw_Pin) == 0);

					while (HAL_GPIO_ReadPin(SW1_GPIO_Port, SW1_Pin) == 1) {
						OLED_DataClear();
						OLED_Char_Print("Back by SW1", 0, 8);

						if (debug_kind == 0) {
							OLED_Char_Print("Read ADC channel...", 0, 0);
							OLED_Char_Print("ch1:", 0, 24);		OLED_Int_Print(4095 - Ball_data[0], 24, 24);
							OLED_Char_Print("ch2:", 54, 24); 	OLED_Int_Print(4095 - Ball_data[1], 78, 24);
							OLED_Char_Print("ch3:", 0, 32); 	OLED_Int_Print(4095 - Ball_data[2], 24, 32);
							OLED_Char_Print("ch4:", 54, 32);	OLED_Int_Print(4095 - Ball_data[3], 78, 32);
							OLED_Char_Print("ch5:", 0, 40);		OLED_Int_Print(4095 - Ball_data[4], 24, 40);
							OLED_Char_Print("ch6;", 54, 40);	OLED_Int_Print(4095 - Ball_data[5], 78, 40);
							OLED_Char_Print("ch7:", 0, 48);		OLED_Int_Print(4095 - Ball_data[6], 24, 48);
							OLED_Char_Print("ch8:", 54, 48);	OLED_Int_Print(4095 - Ball_data[7], 78, 48);
						} else {
							double Ball_angle = Ball_Angle();
							double angle = Ball_angle * 180.0 / PI;
							int x_pos = 0.0;
							int y_pos = 0.0;

							x_pos = 63.0 + (20.0 * sin(Ball_angle));
							y_pos = 39.0 - (20.0 * cos(Ball_angle));

							OLED_Char_Print("Ball Angle...", 0, 0);
							OLED_Char_Print("angle:", 0, 56);
							OLED_Double_Print(angle, 36, 56);
							OLED_Vartical_Display(16, 63, 63);
							OLED_Horizontal_Display(0, 127, 39);
							OLED_Circle_Draw(63, 39, 20);
							OLED_Circle_Draw(x_pos, y_pos, 5);
						}

						OLED_Display(&hi2c2);
					}

					while (HAL_GPIO_ReadPin(SW1_GPIO_Port, SW1_Pin) == 0);
				}
			}

			break;

		case MOTOR_CHECK:
			while (HAL_GPIO_ReadPin(SW1_GPIO_Port, SW1_Pin) == 1) {
				sw2_state = HAL_GPIO_ReadPin(SW2_GPIO_Port, SW2_Pin);
				sw3_state = HAL_GPIO_ReadPin(SW3_GPIO_Port, SW3_Pin);
				start_sw_state = HAL_GPIO_ReadPin(Start_sw_GPIO_Port, Start_sw_Pin);

				OLED_DataClear();
				OLED_Char_Print("Select by SW2", 0, 0);
				OLED_Char_Print("Forward by StartSW", 0, 8);
				OLED_Char_Print("Back by SW1", 0, 16);
				OLED_Char_Print(" Motor1", 0, 24);
				OLED_Char_Print((m1_offset == 1) ? "forward" : "backward", 50, 24);
				OLED_Char_Print(" Motor2", 0, 32);
				OLED_Char_Print((m2_offset == 1) ? "forward" : "backward", 50, 32);
				OLED_Char_Print(" Motor3", 0, 40);
				OLED_Char_Print((m3_offset == 1) ? "forward" : "backward", 50, 40);
				OLED_Char_Print(" Motor4", 0, 48);
				OLED_Char_Print((m4_offset == 1) ? "forward" : "backward", 50, 48);
				OLED_Char_Print(" All Motor", 0, 56);
				OLED_Char_Print(">", 0, __select_num * 8 + 24);
				OLED_Display(&hi2c2);

				if (sw2_state == 0) {
					while (HAL_GPIO_ReadPin(SW2_GPIO_Port, SW2_Pin) == 0);
					__select_num = (__select_num == 4) ? 0 : __select_num + 1;
				}

				if (sw3_state == 0) {
					while (HAL_GPIO_ReadPin(SW3_GPIO_Port, SW3_Pin) == 0);

					switch (__select_num) {
						case 0:
							m1_offset *= -1;
							break;

						case 1:
							m2_offset *= -1;
							break;

						case 2:
							m3_offset *= -1;
							break;

						case 3:
							m4_offset *= -1;
							break;
					}
				}

				if (start_sw_state == 0) {
					switch (__select_num) {
						case 0:
							M1_control(1023);
							M2_control(0);
							M3_control(0);
							M4_control(0);
							break;

						case 1:
							M1_control(0);
							M2_control(1023);
							M3_control(0);
							M4_control(0);
							break;

						case 2:
							M1_control(0);
							M2_control(0);
							M3_control(1023);
							M4_control(0);
							break;

						case 3:
							M1_control(0);
							M2_control(0);
							M3_control(0);
							M4_control(1023);
							break;

						case 4:
							M1_control(1023);
							M2_control(1023);
							M3_control(1023);
							M4_control(1023);
							break;

						default:
							break;
					}
				} else {
					M1_control(0);
					M2_control(0);
					M3_control(0);
					M4_control(0);
				}
			}

			break;

		case AUDIO_CHECK:
			while (HAL_GPIO_ReadPin(SW1_GPIO_Port, SW1_Pin) == 1) {
				static uint8_t play_flug = 0;

				sw2_state = HAL_GPIO_ReadPin(SW2_GPIO_Port, SW2_Pin);
				start_sw_state = HAL_GPIO_ReadPin(Start_sw_GPIO_Port, Start_sw_Pin);

				if (DFPlayer_enable == 0) {
					OLED_DataClear();
					OLED_Char_Print("DFPlayer is disabled.", 0, 0);
					OLED_Char_Print("Enable DFPlayer?", 0, 8);
					OLED_Char_Print("Y : SW2 N : SW3", 0, 16);
					OLED_Display(&hi2c2);

					while (HAL_GPIO_ReadPin(SW2_GPIO_Port, SW2_Pin) == 1 && HAL_GPIO_ReadPin(SW3_GPIO_Port, SW3_Pin) == 1);

					if (HAL_GPIO_ReadPin(SW2_GPIO_Port, SW2_Pin) == 0) {
						DFPlayer_enable = 1;

						OLED_Char_Print("DFPlayer Init...", 0, 24);
						OLED_Display(&hi2c2);

						DFP_Init(&huart6);
						DFP_Volume(speaker_volume);

						OLED_Char_Print("Complete!", 0, 32);
						OLED_Display(&hi2c2);
						HAL_Delay(1500);
					} else {
						break;
					}
				} else {
					OLED_DataClear();
					OLED_Char_Print("Select by SW2", 0, 0);
					OLED_Char_Print("Decide by StartSW", 0, 8);
					OLED_Char_Print("Back by SW1", 0, 16);
					OLED_Char_Print(" Play Thomas", 0, 24);
					OLED_Char_Print(" Volume change", 0, 32);
					OLED_Char_Print(">", 0, __select_num * 8 + 24);
					OLED_Display(&hi2c2);

					if (sw2_state == 0) {
						while (HAL_GPIO_ReadPin(SW2_GPIO_Port, SW2_Pin) == 0);
						__select_num = (__select_num == 1) ? 0 : __select_num + 1;
					}

					if (start_sw_state == 0) {
						while (HAL_GPIO_ReadPin(Start_sw_GPIO_Port, Start_sw_Pin) == 0);

						if (__select_num == 0) {
							if (play_flug == 0) {
								DFP_Play(7);
								play_flug = 1;
							} else {
								DFP_Pause();
								play_flug = 0;
							}
						} else if (__select_num == 1) {
							while (HAL_GPIO_ReadPin(SW1_GPIO_Port, SW1_Pin) == 1) {
								OLED_DataClear();
								OLED_Char_Print("Save and change : SW1", 0, 0);
								OLED_Char_Print("UP : SW2 DOWN : SW3", 0, 8);
								OLED_Char_Print("volume : ", 0, 16);
								OLED_Int_Print(speaker_volume, 54, 16);
								OLED_Line_Display(19, 35, 109, 35);
								OLED_Circle_Draw(19 + speaker_volume * 3, 35, 4);
								OLED_Display(&hi2c2);

								if (HAL_GPIO_ReadPin(SW2_GPIO_Port, SW2_Pin) == 0) {
									while (HAL_GPIO_ReadPin(SW2_GPIO_Port, SW2_Pin) == 0);
									speaker_volume = (speaker_volume == 30) ? 30 : speaker_volume + 1;
								} else if (HAL_GPIO_ReadPin(SW3_GPIO_Port, SW3_Pin) == 0) {
									while (HAL_GPIO_ReadPin(SW3_GPIO_Port, SW3_Pin) == 0);
									speaker_volume = (speaker_volume == 0) ? 0 : speaker_volume - 1;
								}
							}

							while (HAL_GPIO_ReadPin(SW1_GPIO_Port, SW1_Pin) == 0);

							DFP_Volume(speaker_volume);
						}
					}
				}
			}

		default:
			break;
	}

	while (HAL_GPIO_ReadPin(SW1_GPIO_Port, SW1_Pin) == 0);
}

double Ball_Angle(void)
{
	double x_val = 0.0;
	double y_val = 0.0;

	for (int i = 0; i < 8; i++) {
		x_val += cos(Sensor_angle[i]) * (4095 - Ball_data[i]);
		y_val += sin(Sensor_angle[i]) * (4095 - Ball_data[i]);
	}

	if (x_val == 0.0 && y_val == 0.0) {
		return 300.0;
	} else {
		return atan2(y_val, x_val);
	}
}

uint8_t Line_Conenct_Test(void)
{
	uint8_t __receive_buf[2];

	HAL_UART_Transmit(&huart2, check_line, 2, 1000);
	if (HAL_UART_Receive(&huart2, __receive_buf, 2, 1000) == HAL_OK) {
		if (__receive_buf[0] == 0xF3 && __receive_buf[1] == 0x03) {
			return 0;
		} else {
			return 1;
		}
	} else {
		return 1;
	}
}

double Line_Get(void)
{
	double line_angle;

	HAL_UART_Transmit(&huart2, request_line, 2, 1000);
	if (HAL_UART_Receive(&huart2, __receive_buf, 3, 100) == HAL_OK) {
		if ((__receive_buf[0] == 0xFF || __receive_buf[0] == 0x03) && __receive_buf[1] == 0xFF && __receive_buf[2] == 0xFF) {
			line_angle = 300.0;
		} else {
			uint32_t line_data = (__receive_buf[0] << 16) | (__receive_buf[1] << 8) | __receive_buf[2];
			double x_val = 0.0;
			double y_val = 0.0;

			for (uint8_t i = 0; i < 18; i++) {
				uint8_t line_bit = (line_data & (1U << (17 - i))) >> (17 - i);

				if (line_bit != 0) {
					x_val += cos((20.0 * (double)i) * PI / 180.0);
					y_val += sin((20.0 * (double)i) * PI / 180.0);
				}
			}

			line_angle = (x_val == 0.0 && y_val == 0.0) ? 300.0 : atan2(y_val, x_val);
		}
	} else {
		line_angle = 300.0;
	}

	return line_angle;
}

void Motor_Init(void)
{
	HAL_TIM_PWM_Start(&htim3, TIM_CHANNEL_1);
	HAL_TIM_PWM_Start(&htim3, TIM_CHANNEL_2);
	HAL_TIM_PWM_Start(&htim3, TIM_CHANNEL_3);
	HAL_TIM_PWM_Start(&htim3, TIM_CHANNEL_4);

	HAL_TIM_PWM_Start(&htim4, TIM_CHANNEL_1);
	HAL_TIM_PWM_Start(&htim4, TIM_CHANNEL_2);
	HAL_TIM_PWM_Start(&htim4, TIM_CHANNEL_3);
	HAL_TIM_PWM_Start(&htim4, TIM_CHANNEL_4);

	HAL_TIM_PWM_Start(&htim5, TIM_CHANNEL_1);
	HAL_TIM_PWM_Start(&htim5, TIM_CHANNEL_2);
}

int Return_Speed(MOTOR_NUM Mx, double angle, int speed)
{
	int return_speed;

	switch (Mx) {
		case M1:
			return_speed = sin((angle - 45.0) * PI / 180.0) * speed;
			break;

		case M2:
			return_speed = sin((angle - 135.0) * PI / 180.0) * speed;
			break;

		case M3:
			return_speed = sin((angle - 225.0) * PI / 180.0) * speed;
			break;

		case M4:
			return_speed = sin((angle - 315.0) * PI / 180.0) * speed;
			break;
	}

	return return_speed;
}

void M1_control(int speed)
{
	speed *= m1_offset;

	if (speed == 0) {
		__HAL_TIM_SET_COMPARE(&htim4, TIM_CHANNEL_1, 0);
		__HAL_TIM_SET_COMPARE(&htim4, TIM_CHANNEL_2, 0);
	} else if (speed > 0 && speed < 1024) {
		__HAL_TIM_SET_COMPARE(&htim4, TIM_CHANNEL_1, speed);
		__HAL_TIM_SET_COMPARE(&htim4, TIM_CHANNEL_2, 0);
	} else if (speed < 0 && speed > -1024) {
		__HAL_TIM_SET_COMPARE(&htim4, TIM_CHANNEL_1, 0);
		__HAL_TIM_SET_COMPARE(&htim4, TIM_CHANNEL_2, -speed);
	} else {
		__HAL_TIM_SET_COMPARE(&htim4, TIM_CHANNEL_1, 1023);
		__HAL_TIM_SET_COMPARE(&htim4, TIM_CHANNEL_2, 1023);
	}
}

void M2_control(int speed)
{
	speed *= m2_offset;

	if (speed == 0) {
		__HAL_TIM_SET_COMPARE(&htim4, TIM_CHANNEL_3, 0);
		__HAL_TIM_SET_COMPARE(&htim4, TIM_CHANNEL_4, 0);
	} else if (speed > 0 && speed < 1024) {
		__HAL_TIM_SET_COMPARE(&htim4, TIM_CHANNEL_4, speed);
		__HAL_TIM_SET_COMPARE(&htim4, TIM_CHANNEL_3, 0);
	} else if (speed < 0 && speed > -1024) {
		__HAL_TIM_SET_COMPARE(&htim4, TIM_CHANNEL_4, 0);
		__HAL_TIM_SET_COMPARE(&htim4, TIM_CHANNEL_3, -speed);
	} else {
		__HAL_TIM_SET_COMPARE(&htim4, TIM_CHANNEL_3, 1023);
		__HAL_TIM_SET_COMPARE(&htim4, TIM_CHANNEL_4, 1023);
	}
}

void M3_control(int speed)
{
	speed *= m3_offset;

	if (speed == 0) {
		__HAL_TIM_SET_COMPARE(&htim3, TIM_CHANNEL_2, 0);
		__HAL_TIM_SET_COMPARE(&htim3, TIM_CHANNEL_1, 0);
	} else if (speed > 0 && speed < 1024) {
		__HAL_TIM_SET_COMPARE(&htim3, TIM_CHANNEL_2, speed);
		__HAL_TIM_SET_COMPARE(&htim3, TIM_CHANNEL_1, 0);
	} else if (speed < 0 && speed > -1024) {
		__HAL_TIM_SET_COMPARE(&htim3, TIM_CHANNEL_2, 0);
		__HAL_TIM_SET_COMPARE(&htim3, TIM_CHANNEL_1, -speed);
	} else {
		__HAL_TIM_SET_COMPARE(&htim3, TIM_CHANNEL_2, 1023);
		__HAL_TIM_SET_COMPARE(&htim3, TIM_CHANNEL_1, 1023);
	}
}

void M4_control(int speed)
{
	speed *= m4_offset;

	if (speed == 0) {
		__HAL_TIM_SET_COMPARE(&htim3, TIM_CHANNEL_4, 0);
		__HAL_TIM_SET_COMPARE(&htim3, TIM_CHANNEL_3, 0);
	} else if (speed > 0 && speed < 1024) {
		__HAL_TIM_SET_COMPARE(&htim3, TIM_CHANNEL_3, speed);
		__HAL_TIM_SET_COMPARE(&htim3, TIM_CHANNEL_4, 0);
	} else if (speed < 0 && speed > -1024) {
		__HAL_TIM_SET_COMPARE(&htim3, TIM_CHANNEL_3, 0);
		__HAL_TIM_SET_COMPARE(&htim3, TIM_CHANNEL_4, -speed);
	} else {
		__HAL_TIM_SET_COMPARE(&htim3, TIM_CHANNEL_3, 1023);
		__HAL_TIM_SET_COMPARE(&htim3, TIM_CHANNEL_4, 1023);
	}
}

void Stright_control(double angle, int speed)
{
	int max = 0;
	int speed_offset = 0;

	int M1_speed = sin((angle - 45) * PI / 180) * speed;
	int M2_speed = sin((angle - 135) * PI / 180) * speed;
	int M3_speed = sin((angle - 225) * PI / 180) * speed;
	int M4_speed = sin((angle - 315) * PI / 180) * speed;

	max = abs(M1_speed);
	if (max < abs(M2_speed)) {
		max = abs(M2_speed);
	}

	if (max < abs(M3_speed)) {
		max = abs(M3_speed);
	}

	if (max < abs(M4_speed)) {
		max = abs(M4_speed);
	}

	speed_offset = speed / max;
	speed_offset = (speed_offset < 0) ? -speed_offset : speed_offset;

	M1_control(M1_speed * speed_offset);
	M2_control(M2_speed * speed_offset);
	M3_control(M3_speed * speed_offset);
	M4_control(M4_speed * speed_offset);
}

double Return_Pval(double p)
{
	if (p <= -20.0) {
		return -P_GAIN * 0.125 * (p + 180.0) + 6.25 * p + 125.0;
	} else if (p >= 20.0) {
		return -P_GAIN * 0.125 * (p - 180.0) + 6.25 * p - 125.0;
	} else {
		return p * P_GAIN;
	}
}
/* USER CODE END 4 */

void Error_Handler(void)
{
  __disable_irq();
  while (1)
  {
  }
}
